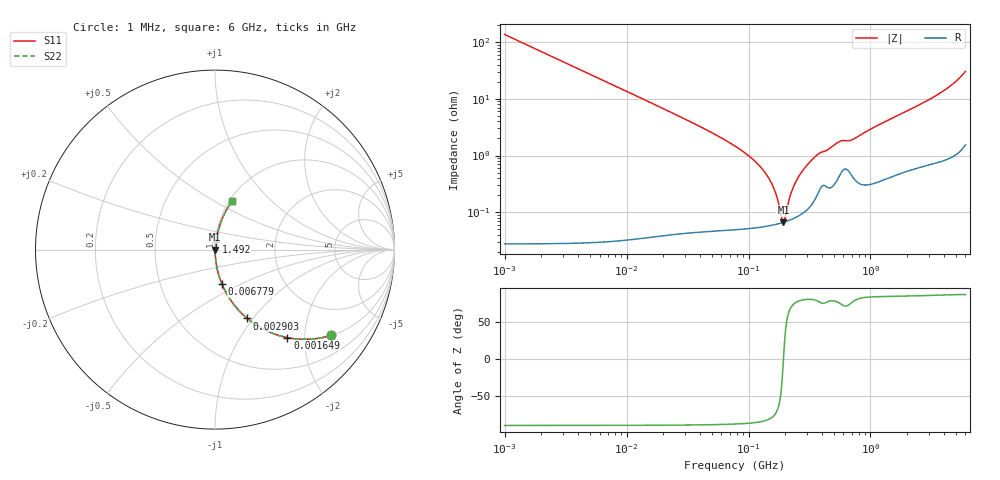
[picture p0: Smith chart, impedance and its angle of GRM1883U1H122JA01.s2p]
!Murata Part Number: GRM1883U1H122JA01
!These Parameters are Measured in Series Mode Connection
!Data Generated on Mar 30, 2021
!  o--ll--o
!Port1  Port2
!  o------o
!Operation Temp=25[degC], DC Bias Voltage=0[V]
!Freq. Start=1000[kHz] Stop=6[GHz] 401[Steps]
# Hz S RI R 50
!Freq.(Hz) S11(Real) S11(Imag) S21(Real) S21(Imag) S12(Real) S12(Imag) S22(Real) S22(Imag)
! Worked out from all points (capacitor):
!   401 points, 1 MHz to 6 GHz, reference 50 ohm
!   read as one part in series: C = 1.17 nF near 1.044 MHz
!   lowest |Z| = 66.8 mohm at 193.1 MHz (marker M1)
!   series resonance near 193.4 MHz, so ESL is about 580 pH
!   S11 on the Smith chart (normalised r, x): 1 MHz: 1.00, -2.71; 1.649 MHz: 1.00, -1.65; 2.903 MHz: 1.00, -0.93; 6.779 MHz: 1.00, -0.40; 1.492 GHz: 1.01, +0.09; 6 GHz: 1.03, +0.61
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1000000  0.6481 -0.4775  0.3519 0.4775  0.3519 0.4775  0.6481 -0.4775
1649087  0.4038 -0.4905  0.5962 0.4905  0.5962 0.4905  0.4038 -0.4905
2902843  0.1794 -0.3834  0.8206 0.3834  0.8206 0.3834  0.1794 -0.3834
4293785  0.0909 -0.2871  0.9091 0.2871  0.9091 0.2871  0.0909 -0.2871
6779431  0.0387 -0.1921  0.9613 0.1921  0.9613 0.1921  0.0387 -0.1921
1.843659e7  0.00565 -0.0724  0.9943 0.0724  0.9943 0.0724  0.00565 -0.0724
7.745967e7  0.000708 -0.0147  0.9993 0.0147  0.9993 0.0147  0.000708 -0.0147
1.096987e8  0.000597 -0.00839  0.9994 0.00839  0.9994 0.00839  0.000597 -0.00839
1.39348e8  0.000589 -0.00469  0.9994 0.00469  0.9994 0.00469  0.000589 -0.00469
1.622626e8  0.00061 -0.00249  0.9994 0.00249  0.9994 0.00249  0.00061 -0.00249
1.848803e8  0.000649 -0.000636  0.9994 0.000636  0.9994 0.000636  0.000649 -0.000636
1.930997e8  0.000667 -2.13e-05  0.9993 2.13e-05  0.9993 2.13e-05  0.000667 -2.13e-05
2.016844e8  0.000687 0.000595  0.9993 -0.000595  0.9993 -0.000595  0.000687 0.000595
2.248532e8  0.000754 0.00215  0.9992 -0.00215  0.9992 -0.00215  0.000754 0.00215
2.452905e8  0.000829 0.00343  0.9992 -0.00343  0.9992 -0.00343  0.000829 0.00343
3.325952e8  0.00147 0.00836  0.9985 -0.00836  0.9985 -0.00836  0.00147 0.00836
5.484786e8  0.0044 0.0167  0.9956 -0.0167  0.9956 -0.0167  0.0044 0.0167
7.120397e8  0.00455 0.0184  0.9955 -0.0184  0.9955 -0.0184  0.00455 0.0184
1.428092e9  0.00586 0.0424  0.9941 -0.0424  0.9941 -0.0424  0.00586 0.0424
1.491582e9  0.00618 0.0444  0.9938 -0.0444  0.9938 -0.0444  0.00618 0.0444
3.638376e9  0.0219 0.1185  0.9781 -0.1185  0.9781 -0.1185  0.0219 0.1185
6e9  0.096 0.2703  0.904 -0.2703  0.904 -0.2703  0.096 0.2703
